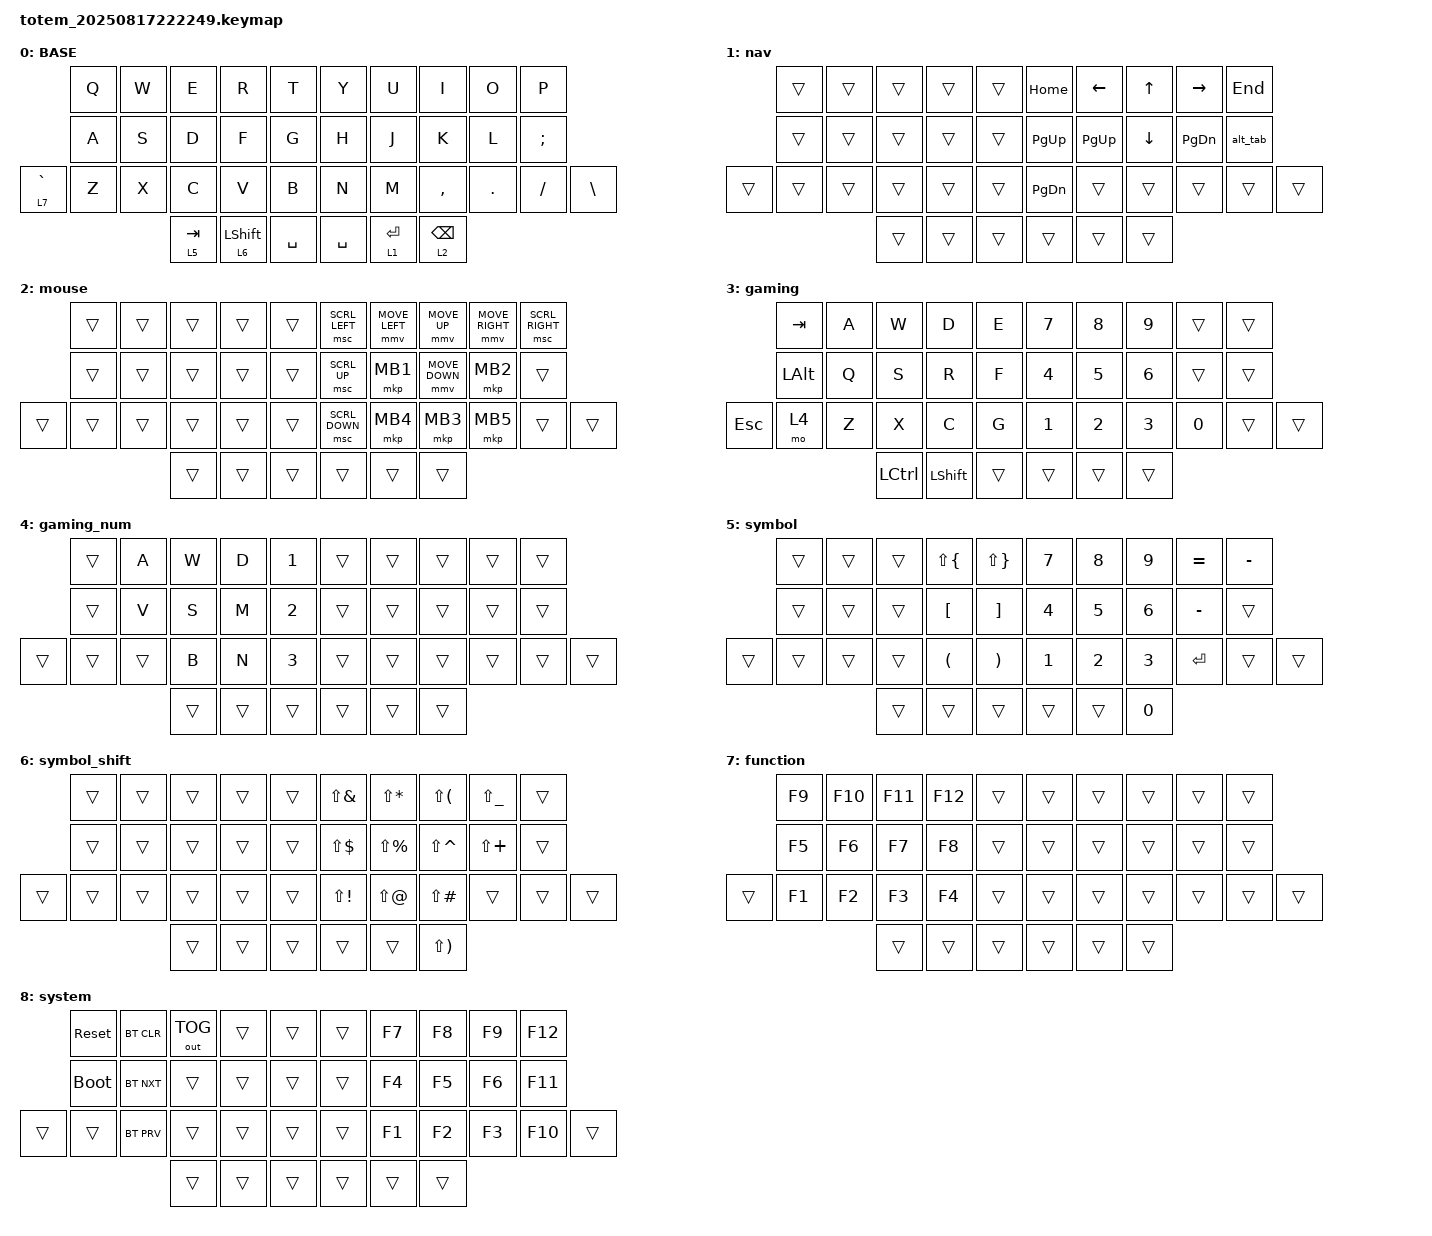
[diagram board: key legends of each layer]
//
//                                                        ▀▀▀▀▀     ▀▀▀▀▀          ▀▀█▀▀
//                                                        ▄▀▀▀▄  ▄  ▄▀▀▀▄  ▄  ▄▀▀▀▄  █  ▄▀▀▀▄
//                                                        █   █  █  █   █  █  █   █  █  █   █
//                                                         ▀▀▀   █   ▀▀▀   █   ▀▀▀   ▀   ▀▀▀
//                                                               █      ▄▄▄█▄▄▄    █   █  
//                                                               ▀      █  █  █     █▄█
//                                                             ▀▀▀▀▀    █  █  █      ▀
//                                                                      ▀  ▀  ▀
//
// ▄▄▄▄▄▄▄▄▄▄▄▄▄▄▄▄▄▄▄▄▄▄▄▄▄▄▄▄▄▄▄▄▄▄▄▄▄▄▄▄▄▄▄▄▄▄▄▄▄▄▄▄▄▄▄▄▄▄▄▄▄▄▄▄▄▄▄▄▄▄▄▄▄▄▄▄▄▄▄▄▄▄▄▄▄▄▄▄▄▄▄▄▄▄▄▄▄▄▄▄▄▄▄▄▄▄▄▄▄▄▄▄▄▄▄▄▄▄▄▄▄▄▄▄▄▄▄▄▄▄▄▄▄▄▄▄▄▄▄▄▄▄▄▄▄▄▄▄▄

#include <dt-bindings/zmk/mouse.h>

// Set mouse movement speed before including pointing.h

#define ZMK_POINTING_DEFAULT_MOVE_VAL 1500  // default: 600
#define ZMK_POINTING_DEFAULT_SCRL_VAL 20    // default: 10

#include <behaviors.dtsi>
#include <dt-bindings/zmk/bt.h>
#include <dt-bindings/zmk/keys.h>
#include <dt-bindings/zmk/outputs.h>
#include <dt-bindings/zmk/pointing.h>

#define BASE 0
#define NAV  1
#define SYM  2
#define ADJ  3
#define TVP1 4
#define TVP2 5
#define B0     BT_SEL 0
#define B1     BT_SEL 1
#define B2     BT_SEL 2
#define B3     BT_SEL 3
#define B4     BT_SEL 4
#define B5     BT_SEL 5
#define OTGL   out OUT_TOG
#define BT_C   BT_CLR
#define BT_C_A BT_CLR_ALL

&mt {
    quick-tap-ms = <100>;
    global-quick-tap;
    flavor = "tap-preferred";
    tapping-term-ms = <135>;
    require-prior-idle-ms = <125>;
};

// Configure mouse movement for quick response with acceleration

/ {
    behaviors {
        // Empty behaviors section - removed home row mods
    };

    combos {
        compatible = "zmk,combos";

        combo_esc {
            timeout-ms = <50>;
            key-positions = <1 0>;
            bindings = <&kp ESC>;
        };

        reset_layers {
            bindings = <&to 0>;
            key-positions = <34 35>;
            require-prior-idle-ms = <100>;
        };

        to_gaming {
            bindings = <&to 3>;
            key-positions = <20 21>;
        };

        quote {
            bindings = <&kp SQT>;
            key-positions = <18 9>;
        };

        dash {
            bindings = <&kp MINUS>;
            key-positions = <25 26>;
        };

        system_layer {
            bindings = <&mo 8>;
            key-positions = <20 31 30>;
        };

        backspace {
            bindings = <&kp BACKSPACE>;
            key-positions = <19 31>;
        };

        delete {
            bindings = <&kp DEL>;
            key-positions = <31 19 18>;
        };

        // Left hand modifiers with left space

        left_gui {
            bindings = <&kp LGUI>;
            key-positions = <10 34>;  // A + left space
            timeout-ms = <50>;
            layers = <0>;  // Only on base layer
        };

        left_alt {
            bindings = <&kp LALT>;
            key-positions = <11 34>;  // S + left space
            timeout-ms = <50>;
            layers = <0>;  // Only on base layer
        };

        left_ctrl {
            bindings = <&kp LCTRL>;
            key-positions = <12 34>;  // D + left space
            timeout-ms = <50>;
            layers = <0>;  // Only on base layer
        };

        left_shift {
            bindings = <&kp LSHFT>;
            key-positions = <13 34>;  // F + left space
            timeout-ms = <50>;
            layers = <0>;  // Only on base layer
        };

        // Right hand modifiers with right space

        right_shift {
            bindings = <&kp RSHFT>;
            key-positions = <16 35>;  // J + right space
            timeout-ms = <50>;
            layers = <0>;  // Only on base layer
        };

        right_ctrl {
            bindings = <&kp RCTRL>;
            key-positions = <17 35>;  // K + right space
            timeout-ms = <50>;
            layers = <0>;  // Only on base layer
        };

        right_alt {
            bindings = <&kp RALT>;
            key-positions = <18 35>;  // L + right space
            timeout-ms = <50>;
            layers = <0>;  // Only on base layer
        };

        right_gui {
            bindings = <&kp RGUI>;
            key-positions = <19 35>;  // ; + right space
            timeout-ms = <50>;
            layers = <0>;  // Only on base layer
        };

        activate-gaming {
            bindings = <&to 3>;
            key-positions = <1 2 3 34>;
            layers = <0>;
        };
    };

    macros {
        delete: delete {
            compatible = "zmk,behavior-macro";
            #binding-cells = <0>;
            bindings = <&macro_tap>, <&kp LS(BACKSPACE)>;

            label = "DELETE";
        };

        alt_tab: alt_tab {
            compatible = "zmk,behavior-macro";
            #binding-cells = <0>;
            bindings = <&macro_press &kp LALT>, <&macro_tap &kp TAB>, <&macro_release &kp LALT>;
            label = "ALT_TAB";
        };
    };

    keymap {
        compatible = "zmk,keymap";

        // ▄▄▄▄▄▄▄▄▄▄▄▄▄▄▄▄▄▄▄▄▄▄▄▄▄▄▄▄▄▄▄▄▄▄▄▄▄▄▄▄▄▄▄▄▄▄▄▄▄▄▄▄▄▄▄▄▄▄▄▄▄▄▄▄▄▄▄▄▄▄▄▄▄▄▄▄▄▄▄▄▄▄▄▄▄▄▄▄▄▄▄▄▄▄▄▄▄▄▄▄▄▄▄▄▄▄▄▄▄▄▄▄▄▄▄▄▄▄▄▄▄▄▄▄▄▄▄▄▄▄▄▄▄▄▄▄▄▄▄▄▄▄▄▄▄▄▄▄▄

        base_layer {
            // ┏━━━━━━━━━━━━━━━━━━━━━━━━━━━━━━━━━━━━━━━┓

            label = "BASE";

            // ┗━━━━━━━━━━━━━━━━━━━━━━━━━━━━━━━━━━━━━━━┛
            //             ┏━━━━━━━━━━━┳━━━━━━━━━━━┳━━━━━━━━━━━┳━━━━━━━━━━━┳━━━━━━━━━━━┓   ┏━━━━━━━━━━━┳━━━━━━━━━━━┳━━━━━━━━━━━┳━━━━━━━━━━━┳━━━━━━━━━━━┓
            //             ┃     Q     ┃     W     ┃     E     ┃     R     ┃     T     ┃   ┃     Y     ┃     U     ┃     I     ┃     O     ┃     P     ┃
            //             ┣━━━━━━━━━━━╋━━━━━━━━━━━╋━━━━━━━━━━━╋━━━━━━━━━━━╋━━━━━━━━━━━┫   ┣━━━━━━━━━━━╋━━━━━━━━━━━╋━━━━━━━━━━━╋━━━━━━━━━━━╋━━━━━━━━━━━┫
            //             ┃     A     ┃     S     ┃     D     ┃     F     ┃     G     ┃   ┃     H     ┃     J     ┃     K     ┃     L     ┃     ;     ┃
            // ┏━━━━━━━━━━━╋━━━━━━━━━━━╋━━━━━━━━━━━╋━━━━━━━━━━━╋━━━━━━━━━━━╋━━━━━━━━━━━┫   ┣━━━━━━━━━━━╋━━━━━━━━━━━╋━━━━━━━━━━━╋━━━━━━━━━━━╋━━━━━━━━━━━╋━━━━━━━━━━━┓
            // ┃     Q     ┃     Z     ┃     X     ┃     C     ┃     V     ┃     B     ┃   ┃     N     ┃     M     ┃     ,     ┃     .     ┃     /     ┃     \     ┃
            // ┗━━━━━━━━━━━┻━━━━━━━━━━━┻━━━━━━━━━━━╋━━━━━━━━━━━╋━━━━━━━━━━━╋━━━━━━━━━━━┫   ┣━━━━━━━━━━━╋━━━━━━━━━━━╋━━━━━━━━━━━╋━━━━━━━━━━━┻━━━━━━━━━━━┻━━━━━━━━━━━┛
            //                                     ┃    DEL    ┃    TAB    ┃    SPC    ┃   ┃   ENTER   ┃           ┃   BSPC    ┃
            //                                     ┗━━━━━━━━━━━┻━━━━━━━━━━━┻━━━━━━━━━━━┛   ┗━━━━━━━━━━━┻━━━━━━━━━━━┻━━━━━━━━━━━┛

            bindings = <
             &kp Q  &kp W  &kp E      &kp R             &kp T        &kp Y      &kp U      &kp I            &kp O    &kp P
             &kp A  &kp S  &kp D      &kp F             &kp G        &kp H      &kp J      &kp K            &kp L    &kp SEMI
&lt 7 GRAVE  &kp Z  &kp X  &kp C      &kp V             &kp B        &kp N      &kp M      &kp COMMA        &kp DOT  &kp FSLH  &kp BSLH
                           &lt 5 TAB  &lt 6 LEFT_SHIFT  &kp SPACE    &kp SPACE  &lt 1 RET  &lt 2 BACKSPACE
            >;
        };

        nav {
            bindings = <
        &trans  &trans  &trans  &trans  &trans    &kp HOME   &kp LEFT   &kp UP    &kp RIGHT  &kp END
        &trans  &trans  &trans  &trans  &trans    &kp PG_UP  &kp PG_UP  &kp DOWN  &kp PG_DN  &alt_tab
&trans  &trans  &trans  &trans  &trans  &trans    &kp PG_DN  &trans     &trans    &trans     &trans   &trans
                        &trans  &trans  &trans    &trans     &trans     &trans
            >;
        };

        mouse {
            bindings = <
        &trans  &trans  &trans  &trans  &trans    &msc SCRL_LEFT  &mmv MOVE_LEFT  &mmv MOVE_UP    &mmv MOVE_RIGHT  &msc SCRL_RIGHT
        &trans  &trans  &trans  &trans  &trans    &msc SCRL_UP    &mkp MB1        &mmv MOVE_DOWN  &mkp MB2         &trans
&trans  &trans  &trans  &trans  &trans  &trans    &msc SCRL_DOWN  &mkp MB4        &mkp MB3        &mkp MB5         &trans           &trans
                        &trans  &trans  &trans    &trans          &trans          &trans
            >;
        };

        gaming {
            bindings = <
         &kp TAB   &kp A  &kp W      &kp D      &kp E     &kp N7  &kp N8  &kp N9  &trans  &trans
         &kp LALT  &kp Q  &kp S      &kp R      &kp F     &kp N4  &kp N5  &kp N6  &trans  &trans
&kp ESC  &mo 4     &kp Z  &kp X      &kp C      &kp G     &kp N1  &kp N2  &kp N3  &kp N0  &trans  &trans
                          &kp LCTRL  &kp LSHFT  &trans    &trans  &trans  &trans
            >;
        };

        gaming_num {
            bindings = <
        &trans  &kp A   &kp W   &kp D   &kp N1    &trans  &trans  &trans  &trans  &trans
        &trans  &kp V   &kp S   &kp M   &kp N2    &trans  &trans  &trans  &trans  &trans
&trans  &trans  &trans  &kp B   &kp N   &kp N3    &trans  &trans  &trans  &trans  &trans  &trans
                        &trans  &trans  &trans    &trans  &trans  &trans
            >;
        };

        symbol {
            bindings = <
        &trans  &trans  &trans  &kp LS(LBRC)          &kp LS(RBRC)             &kp N7        &kp N8  &kp N9  &kp EQUAL  &kp MINUS
        &trans  &trans  &trans  &kp LBKT              &kp RBKT                 &kp N4        &kp N5  &kp N6  &kp MINUS  &trans
&trans  &trans  &trans  &trans  &kp LEFT_PARENTHESIS  &kp RIGHT_PARENTHESIS    &kp NUMBER_1  &kp N2  &kp N3  &kp ENTER  &trans     &trans
                        &trans  &trans                &trans                   &trans        &trans  &kp N0
            >;
        };

        symbol_shift {
            bindings = <
        &trans  &trans  &trans  &trans  &trans    &kp LS(AMPS)  &kp LS(STAR)   &kp LS(LPAR)   &kp LS(UNDER)  &trans
        &trans  &trans  &trans  &trans  &trans    &kp LS(DLLR)  &kp LS(PRCNT)  &kp LS(CARET)  &kp LS(PLUS)   &trans
&trans  &trans  &trans  &trans  &trans  &trans    &kp LS(EXCL)  &kp LS(AT)     &kp LS(POUND)  &trans         &trans  &trans
                        &trans  &trans  &trans    &trans        &trans         &kp LS(RPAR)
            >;
        };

        function {
            bindings = <
        &kp F9  &kp F10  &kp F11  &kp F12  &trans    &trans  &trans  &trans  &trans  &trans
        &kp F5  &kp F6   &kp F7   &kp F8   &trans    &trans  &trans  &trans  &trans  &trans
&trans  &kp F1  &kp F2   &kp F3   &kp F4   &trans    &trans  &trans  &trans  &trans  &trans  &trans
                         &trans   &trans   &trans    &trans  &trans  &trans
            >;
        };

        adjust_layer {
            // ┏━━━━━━━━━━━━━━━━━━━━━━━━━━━━━━━━━━━━━━━┓

            label = "system";

            // ┗━━━━━━━━━━━━━━━━━━━━━━━━━━━━━━━━━━━━━━━┛
            //             ┏━━━━━━━━━━━┳━━━━━━━━━━━┳━━━━━━━━━━━┳━━━━━━━━━━━┳━━━━━━━━━━━┓   ┏━━━━━━━━━━━┳━━━━━━━━━━━┳━━━━━━━━━━━┳━━━━━━━━━━━┳━━━━━━━━━━━┓
            //             ┃   RESET   ┃ BT CLEAR  ┃  OUT TOG  ┃           ┃           ┃   ┃           ┃    F7     ┃    F8     ┃    F9     ┃    F12    ┃
            //             ┣━━━━━━━━━━━╋━━━━━━━━━━━╋━━━━━━━━━━━╋━━━━━━━━━━━╋━━━━━━━━━━━┫   ┣━━━━━━━━━━━╋━━━━━━━━━━━╋━━━━━━━━━━━╋━━━━━━━━━━━╋━━━━━━━━━━━┫
            //             ┃ BOOTLOAD  ┃ BT NEXT   ┃           ┃           ┃           ┃   ┃           ┃    F4     ┃    F5     ┃    F6     ┃    F11    ┃
            // ┏━━━━━━━━━━━╋━━━━━━━━━━━╋━━━━━━━━━━━╋━━━━━━━━━━━╋━━━━━━━━━━━╋━━━━━━━━━━━┫   ┣━━━━━━━━━━━╋━━━━━━━━━━━╋━━━━━━━━━━━╋━━━━━━━━━━━╋━━━━━━━━━━━╋━━━━━━━━━━━┓
            // ┃           ┃           ┃ BT PREV   ┃           ┃           ┃           ┃   ┃           ┃    F1     ┃    F2     ┃    F3     ┃    F10    ┃           ┃
            // ┗━━━━━━━━━━━┻━━━━━━━━━━━┻━━━━━━━━━━━╋━━━━━━━━━━━╋━━━━━━━━━━━╋━━━━━━━━━━━┫   ┣━━━━━━━━━━━╋━━━━━━━━━━━╋━━━━━━━━━━━╋━━━━━━━━━━━┻━━━━━━━━━━━┻━━━━━━━━━━━┛
            //                                     ┃           ┃           ┃           ┃   ┃           ┃           ┃           ┃
            //                                     ┗━━━━━━━━━━━┻━━━━━━━━━━━┻━━━━━━━━━━━┛   ┗━━━━━━━━━━━┻━━━━━━━━━━━┻━━━━━━━━━━━┛

            bindings = <
        &sys_reset   &bt BT_CLR  &out OUT_TOG  &trans  &trans    &trans  &kp F7  &kp F8  &kp F9  &kp F12
        &bootloader  &bt BT_NXT  &trans        &trans  &trans    &trans  &kp F4  &kp F5  &kp F6  &kp F11
&trans  &trans       &bt BT_PRV  &trans        &trans  &trans    &trans  &kp F1  &kp F2  &kp F3  &kp F10  &trans
                                 &trans        &trans  &trans    &trans  &trans  &trans
            >;
        };
    };

    conditional_layers { compatible = "zmk,conditional-layers"; };
};
